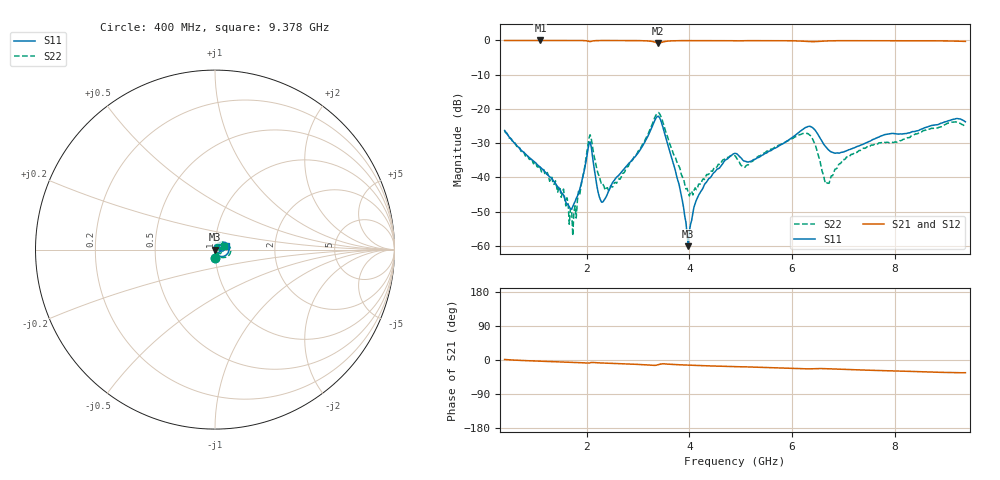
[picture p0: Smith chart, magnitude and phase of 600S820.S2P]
!  American Technical Ceramics  Date:  11/6/2006
!  One Norden Lane
!  Huntington Station,  NY.  11746-2102
!  Tel:  (631) 622-4700  Fax:  (631) 622-4748
!  Part Number  600S820FT  Mounting Orientation: Horizontal
!  Description: Ultra Low ESR Microwave capacitors
!  Application: Coupling, Bypass, Tuning, DC Block
!  Filters, Matching
# GHZ S DB R 50
! Freq  |S11|  S11 Ph  |S21|  S21 Ph  |S12|  S12 Ph  |S22|  S22 Ph
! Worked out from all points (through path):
!   400 points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, 400 MHz to 9.378 GHz, reference 50 ohm
!   highest |S21| = 0.00 dB at 1.098 GHz (marker M1); lowest = -0.7 dB at 3.393 GHz (marker M2)
!   group delay of S21, straight-line fit = 10.3 ps
!   lowest |S11| = -60.1 dB at 3.978 GHz (marker M3), VSWR 1.00, Z = 50.1 - j0.00585 ohm
!   |S11| at or under -10 dB: start of sweep to end of sweep
!   |S22| runs from -57.0 to -21.1 dB; largest |S21 - S12| = 0.0044
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0.4  -26.29 -87.9  -0.02 1.3  0.00 1.3  -26.50 -89.4
1.098  -37.05 -97.7  0.00 -3.2  -0.01 -3.2  -37.33 -96.8
1.548  -45.16 -130.4  -0.01 -5.3  -0.01 -5.3  -43.42 -80.2
1.638  -47.98 -147.2  -0.01 -5.7  -0.01 -5.8  -47.53 -83.1
1.66  -48.55 -156.3  -0.01 -5.8  -0.01 -5.9  -53.67 -62.0
1.705  -49.24 -168.8  -0.01 -6.1  -0.01 -6.1  -49.27 -54.6
1.728  -48.55 -177.9  -0.01 -6.2  -0.01 -6.2  -57.05 -38.0
1.75  -47.75 170.5  -0.01 -6.3  -0.01 -6.3  -50.21 11.3
1.795  -46.18 145.6  -0.01 -6.5  -0.01 -6.5  -51.88 7.6
1.908  -40.87 103.6  -0.02 -7.2  -0.01 -7.3  -40.90 41.2
2.065  -29.60 -1.6  -0.34 -7.3  -0.33 -7.3  -27.56 -13.5
2.313  -47.21 -176.7  -0.02 -8.0  -0.01 -8.1  -41.89 -38.9
2.65  -38.92 108.5  -0.02 -9.7  -0.01 -9.8  -40.53 24.5
3.393  -22.13 -1.4  -0.74 -12.4  -0.73 -12.5  -21.06 -6.1
3.798  -41.97 -81.8  -0.07 -12.6  -0.06 -12.7  -36.71 -57.5
3.978  -60.09 -3.4  -0.04 -13.6  -0.03 -13.7  -44.36 -28.8
4.18  -45.21 58.8  -0.03 -14.6  -0.02 -14.7  -41.95 33.0
4.9  -32.99 37.6  -0.11 -17.7  -0.10 -17.8  -33.86 37.9
6.408  -25.57 0.6  -0.35 -22.9  -0.36 -23.1  -29.01 9.6
6.655  -30.99 -10.6  -0.16 -22.9  -0.16 -23.1  -41.85 27.1
7.893  -27.26 37.1  -0.10 -28.5  -0.11 -28.6  -29.90 51.7
9.378  -23.76 17.7  -0.27 -33.5  -0.28 -33.7  -25.22 24.0
